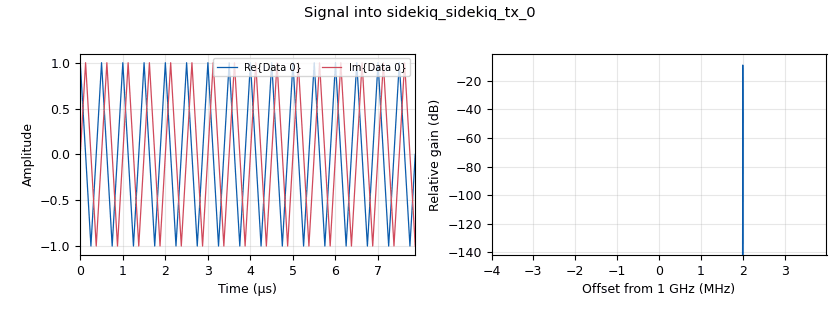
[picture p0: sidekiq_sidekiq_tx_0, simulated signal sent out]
options:
  parameters:
    generate_options: qt_gui
    id: bursting_headless
    output_language: python
    title: bursting headless
  states: {}

blocks:
- name: attenuation
  id: variable
  parameters:
    value: '10'
  states: {}
- name: bandwidth
  id: variable
  parameters:
    value: sample_rate * .8
  states: {}
- name: frequency
  id: variable
  parameters:
    value: 1000e6
  states: {}
- name: min_output_buffer
  id: variable
  parameters:
    value: 32764 *2*2
  states: {}
- name: sample_rate
  id: variable
  parameters:
    value: 8e6
  states: {}
- name: tone_freq
  id: variable
  parameters:
    value: 2e6
  states: {}
- name: analog_sig_source_x_0
  id: analog_sig_source_x
  parameters:
    amp: '1'
    freq: tone_freq
    minoutbuf: min_output_buffer
    offset: '0'
    phase: '0'
    samp_rate: sample_rate
    type: complex
    waveform: analog.GR_COS_WAVE
  states: {}
- name: blocks_add_xx_0
  id: blocks_add_xx
  parameters:
    minoutbuf: min_output_buffer
    type: complex
  states: {}
- name: blocks_tags_strobe_0
  id: blocks_tags_strobe
  parameters:
    key: pmt.intern("tx_burst")
    nsamps: int(sample_rate * 4)
    type: complex
    value: pmt.to_pmt(5000000)
  states: {}
- name: blocks_throttle_0
  id: blocks_throttle
  parameters:
    samples_per_second: sample_rate
    type: complex
  states: {}
- name: sidekiq_sidekiq_tx_0
  id: sidekiq_sidekiq_tx
  parameters:
    attenuation: attenuation
    bandwidth: bandwidth
    buffer_size: '4092'
    bursting: '1'
    cal_mode: '1'
    card: '0'
    frequency: frequency
    handle: '0'
    run_cal: '0'
    sample_rate: sample_rate
    threads: '1'
  states: {}

connections:
- [analog_sig_source_x_0, '0', blocks_add_xx_0, '0']
- [blocks_add_xx_0, '0', blocks_throttle_0, '0']
- [blocks_tags_strobe_0, '0', blocks_add_xx_0, '1']
- [blocks_throttle_0, '0', sidekiq_sidekiq_tx_0, '0']

metadata:
  file_format: 1
  grc_version: 3.10.3.0
